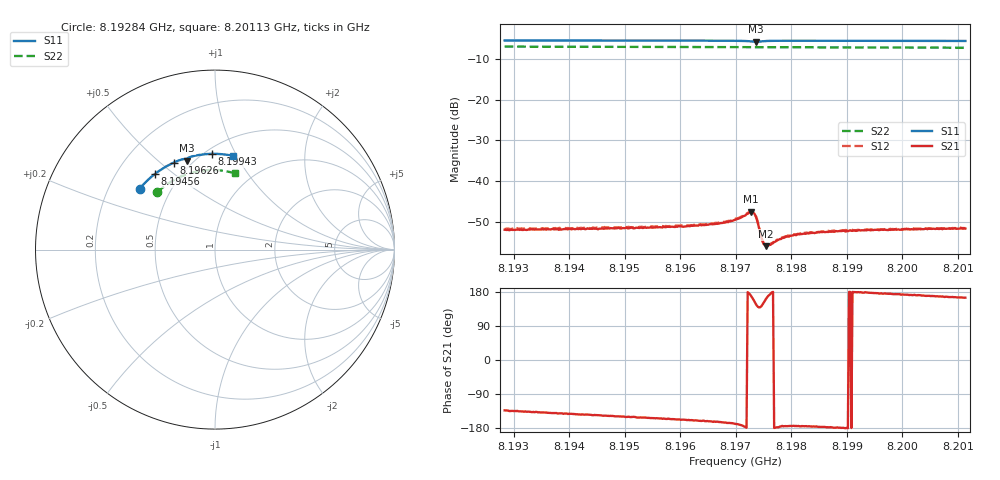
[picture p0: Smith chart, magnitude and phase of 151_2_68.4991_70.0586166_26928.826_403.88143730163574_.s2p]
#  HZ  S  RI  R  50.00
! Rohde & Schwarz Vector Network Analyzer
! Rohde-Schwarz,ZNB20-2Port,1311601062101988,3.16
! Created: UTC 3/20/2024, 5:10:26 PM
! freq[Hz]  re:S11  im:S11  re:S21  im:S21  re:S12  im:S12  re:S22  im:S22
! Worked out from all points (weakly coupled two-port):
!   401 points, 8.19284 GHz to 8.20113 GHz, reference 50 ohm
!   highest |S21| = -47.57 dB at 8.19728 GHz (marker M1); lowest = -56.1 dB at 8.19755 GHz (marker M2)
!   lowest |S11| = -5.7 dB at 8.19736 GHz (marker M3), VSWR 3.17, Z = 23.1 + j31.4 ohm
!   |S11| at or under -10 dB: nowhere
!   |S22| runs from -7.1 to -6.9 dB; largest |S21 - S12| = 0.00021
!   S11 on the Smith chart (normalised r, x): 8.19284 GHz: 0.33, +0.32; 8.19456 GHz: 0.36, +0.43; 8.19626 GHz: 0.41, +0.55; 8.19943 GHz: 0.54, +0.81; 8.20113 GHz: 0.67, +0.97
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8.192839e9  -0.4204 0.338  -0.00171 -0.00184  -0.00182 -0.00179  -0.3211 0.3191
8.194229e9  -0.3517 0.4076  -0.00207 -0.00152  -0.00219 -0.00148  -0.2608 0.368
8.19456e9  -0.3335 0.4225  -0.00214 -0.00145  -0.00226 -0.00138  -0.2452 0.3778
8.195618e9  -0.2714 0.4637  -0.00243 -0.00117  -0.00255 -0.00111  -0.1927 0.4053
8.196261e9  -0.2305 0.4846  -0.00264 -0.000985  -0.00274 -0.000917  -0.1591 0.4186
8.196655e9  -0.2042 0.4956  -0.00284 -0.000883  -0.00294 -0.00076  -0.138 0.4253
8.196987e9  -0.18 0.5035  -0.00325 -0.000669  -0.00337 -0.000544  -0.1198 0.4301
8.197277e9  -0.1555 0.5016  -0.00411 0.000807  -0.00415 0.000964  -0.1037 0.4335
8.197318e9  -0.1541 0.4985  -0.0038 0.00144  -0.00379 0.00163  -0.1014 0.4341
8.19736e9  -0.1555 0.4964  -0.00313 0.00193  -0.00311 0.0021  -0.0994 0.4343
8.197401e9  -0.1578 0.4974  -0.00228 0.00191  -0.00225 0.00201  -0.0971 0.4349
8.197484e9  -0.1571 0.5043  -0.00149 0.000976  -0.00151 0.00108  -0.0928 0.4359
8.197505e9  -0.156 0.506  -0.00147 0.000792  -0.00143 0.00087  -0.0916 0.436
8.197546e9  -0.1532 0.5089  -0.0015 0.000495  -0.0015 0.000537  -0.0892 0.4365
8.197588e9  -0.1501 0.5108  -0.00158 0.000287  -0.00159 0.00034  -0.0869 0.4369
8.197795e9  -0.134 0.5175  -0.00192 -0.000148  -0.00197 -7.52e-05  -0.0753 0.4389
8.197899e9  -0.1263 0.5196  -0.00204 -0.000202  -0.00209 -7.75e-05  -0.0693 0.4396
8.198086e9  -0.1127 0.5228  -0.00214 -0.000227  -0.00219 -0.00014  -0.059 0.4408
8.198376e9  -0.0918 0.5268  -0.00229 -0.000173  -0.00233 -9.5e-05  -0.0426 0.4422
8.199434e9  -0.0167 0.5335  -0.00246 0.00012  -0.00252 0.00023  0.0177 0.442
8.199765e9  0.00687 0.5334  -0.00251 0.000226  -0.00254 0.000342  0.0364 0.4401
8.201134e9  0.1029 0.5217  -0.0025 0.000696  -0.0025 0.000837  0.1126 0.4244
